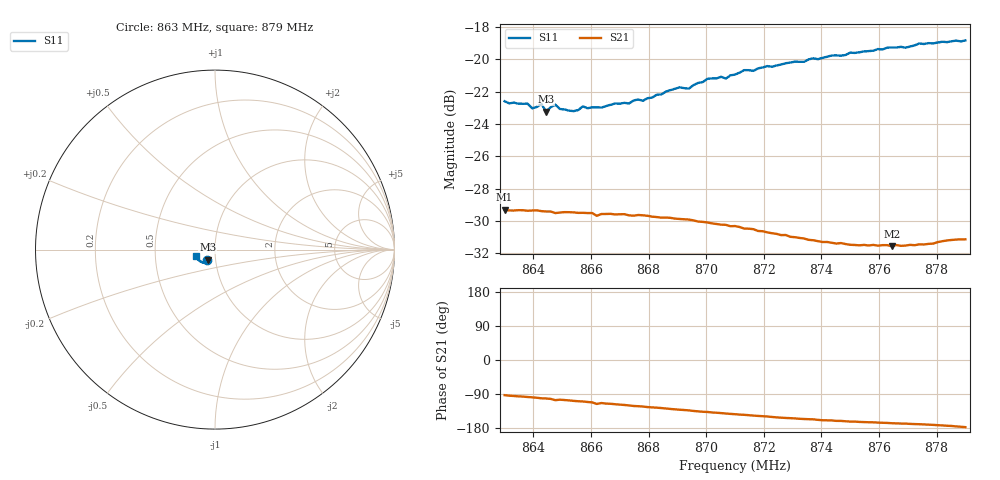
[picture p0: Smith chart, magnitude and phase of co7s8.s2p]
# HZ S RI R 50
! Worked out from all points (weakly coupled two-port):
!   101 points, 863 MHz to 879 MHz, reference 50 ohm
!   highest |S21| = -29.29 dB at 863 MHz (marker M1); lowest = -31.5 dB at 876.44 MHz (marker M2)
!   lowest |S11| = -23.2 dB at 864.44 MHz (marker M3), VSWR 1.15, Z = 45.8 - j5.15 ohm
!   |S11| at or under -10 dB: start of sweep to end of sweep
!   S12 and S22 are empty: the file has one direction only
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8.63e8  -0.0463 -0.0581  -0.00166 -0.0343  0 0  0 0
8.638e8  -0.0429 -0.059  -0.00455 -0.0337  0 0  0 0
8.6396e8  -0.0412 -0.0573  -0.00504 -0.0337  0 0  0 0
8.6428e8  -0.0423 -0.0593  -0.00658 -0.0333  0 0  0 0
8.6444e8  -0.0404 -0.0559  -0.00678 -0.0332  0 0  0 0
8.6476e8  -0.0434 -0.058  -0.00921 -0.0322  0 0  0 0
8.6492e8  -0.0398 -0.0579  -0.00855 -0.0325  0 0  0 0
8.654e8  -0.038 -0.0578  -0.0104 -0.032  0 0  0 0
8.6572e8  -0.0377 -0.0609  -0.0112 -0.0316  0 0  0 0
8.6636e8  -0.0398 -0.0588  -0.0133 -0.0305  0 0  0 0
8.6732e8  -0.0368 -0.0631  -0.0164 -0.0285  0 0  0 0
8.6844e8  -0.0398 -0.067  -0.0194 -0.026  0 0  0 0
8.6908e8  -0.0431 -0.0697  -0.0212 -0.0242  0 0  0 0
8.694e8  -0.0431 -0.0688  -0.0218 -0.0234  0 0  0 0
8.7004e8  -0.047 -0.0733  -0.023 -0.0213  0 0  0 0
8.7068e8  -0.0495 -0.0718  -0.024 -0.0193  0 0  0 0
8.71e8  -0.0523 -0.0729  -0.0244 -0.0184  0 0  0 0
8.7132e8  -0.0553 -0.0743  -0.0245 -0.0173  0 0  0 0
8.7164e8  -0.0564 -0.0729  -0.025 -0.0164  0 0  0 0
8.7372e8  -0.0712 -0.0713  -0.0253 -0.011  0 0  0 0
8.7644e8  -0.0927 -0.0571  -0.0258 -0.00605  0 0  0 0
8.79e8  -0.1085 -0.0362  -0.0278 -0.00136  0 0  0 0
